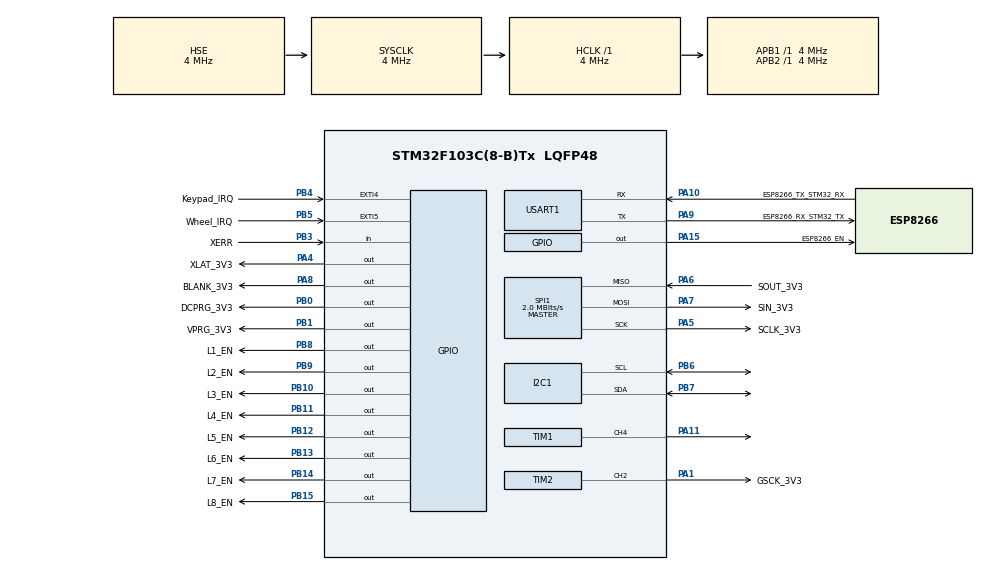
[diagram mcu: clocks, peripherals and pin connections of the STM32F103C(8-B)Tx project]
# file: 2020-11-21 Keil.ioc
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Mcu.Family=STM32F1
PA6.Mode=Full_Duplex_Master
SH.S_TIM1_CH4.0=TIM1_CH4,PWM Generation4 CH4
SPI1.VirtualType=VM_MASTER
PB4.GPIO_ModeDefaultEXTI=GPIO_MODE_IT_FALLING
PB14.GPIO_Label=L7_EN
VP_RTC_VS_RTC_Activate.Mode=RTC_Enabled
PA6.GPIO_Label=SOUT_3V3
PB0.GPIO_Label=DCPRG_3V3
TIM2.Pulse-Output\ Compare2\ CH2=1
NVIC.TIM1_UP_IRQn=true\:0\:0\:true\:false\:true\:true\:true
PB13.GPIO_Label=L6_EN
PB11.Signal=GPIO_Output
PB13.Signal=GPIO_Output
PB15.Signal=GPIO_Output
RCC.SYSCLKSource=RCC_SYSCLKSOURCE_HSE
ProjectManager.StackSize=0x400
PD1-OSC_OUT.Signal=RCC_OSC_OUT
PA15.GPIO_Label=ESP8266_EN
TIM1.Channel-PWM\ Generation4\ CH4=TIM_CHANNEL_4
SPI1.Direction=SPI_DIRECTION_2LINES
RCC.HCLKFreq_Value=4000000
RCC.APB2TimFreq_Value=4000000
PB6.Signal=I2C1_SCL
PB6.Mode=I2C
SPI1.CalculateBaudRate=2.0 MBits/s
RCC.AHBFreq_Value=4000000
RCC.HSE_VALUE=4000000
RCC.RTCClockSelection=RCC_RTCCLKSOURCE_LSE
PB12.GPIO_Label=L5_EN
PB3.GPIO_PuPd=GPIO_PULLUP
PC14-OSC32_IN.Mode=LSE-External-Oscillator
PA14.Mode=Serial_Wire
PB1.GPIO_Label=VPRG_3V3
PA10.GPIO_Label=ESP8266_TX_STM32_RX
PB7.Signal=I2C1_SDA
PA8.Signal=GPIO_Output
Mcu.Package=LQFP48
PB9.Signal=GPIO_Output
TIM2.Channel-Output\ Compare2\ CH2=TIM_CHANNEL_2
TIM2.OCMode_2=TIM_OCMODE_TOGGLE
PB1.Signal=GPIO_Output
PA6.Signal=SPI1_MISO
PA10.Signal=USART1_RX
PA15.Signal=GPIO_Output
PB5.GPIO_Label=Wheel_IRQ
RCC.APB1TimFreq_Value=4000000
TIM1.Period=16383
SPI1.BaudRatePrescaler=SPI_BAUDRATEPRESCALER_2
PA4.GPIO_Label=XLAT_3V3
PB4.Signal=GPXTI4
PA5.Mode=Full_Duplex_Master
PB3.GPIO_Label=XERR
PB5.GPIO_ModeDefaultEXTI=GPIO_MODE_IT_FALLING
RCC.PLLSourceVirtual=RCC_PLLSOURCE_HSE
PC15-OSC32_OUT.Mode=LSE-External-Oscillator
NVIC.EXTI4_IRQn=true\:2\:0\:true\:false\:true\:true\:true
PA7.Mode=Full_Duplex_Master
PD1-OSC_OUT.Mode=HSE-External-Oscillator
PB9.GPIO_Label=L2_EN
PA10.Mode=Asynchronous
PA9.GPIO_Label=ESP8266_RX_STM32_TX
PB11.GPIO_Label=L4_EN
PD0-OSC_IN.Signal=RCC_OSC_IN
PC14-OSC32_IN.Signal=RCC_OSC32_IN
PA13.Signal=SYS_JTMS-SWDIO
PB8.GPIO_Label=L1_EN
SH.S_TIM2_CH2.0=TIM2_CH2,Output Compare2 CH2
PA9.Mode=Asynchronous
PA8.GPIO_Label=BLANK_3V3
ProjectManager.TargetToolchain=MDK-ARM V5.27
PB10.GPIO_Label=L3_EN
PA9.Signal=USART1_TX
RCC.USBFreq_Value=8000000
PC15-OSC32_OUT.Signal=RCC_OSC32_OUT
PA1.Signal=S_TIM2_CH2
PD0-OSC_IN.Mode=HSE-External-Oscillator
PB10.Signal=GPIO_Output
PB14.Signal=GPIO_Output
PA5.Signal=SPI1_SCK
board=custom
TIM1.TIM_MasterOutputTrigger=TIM_TRGO_UPDATE
RCC.APB2Freq_Value=4000000
PB4.GPIO_Label=Keypad_IRQ
PB15.GPIO_Label=L8_EN
SPI1.Mode=SPI_MODE_MASTER
PA1.GPIO_Label=GSCK_3V3
TIM2.Period=1
PA13.Mode=Serial_Wire
Mcu.Name=STM32F103C(8-B)Tx
PB3.Signal=GPIO_Input
PA4.Signal=GPIO_Output
RCC.SYSCLKFreq_VALUE=4000000
PB5.Signal=GPXTI5
PA7.GPIO_Label=SIN_3V3
PA5.GPIO_Label=SCLK_3V3
USART1.VirtualMode=VM_ASYNC
PB7.Mode=I2C
PA11.Signal=S_TIM1_CH4
NVIC.EXTI9_5_IRQn=true\:2\:0\:true\:false\:true\:true\:true
PA14.Signal=SYS_JTCK-SWCLK
ProjectManager.HeapSize=0x200
NVIC.PriorityGroup=NVIC_PRIORITYGROUP_4
PB8.Signal=GPIO_Output
RCC.APB1Freq_Value=4000000
PB0.Signal=GPIO_Output
PB12.Signal=GPIO_Output
PA7.Signal=SPI1_MOSI

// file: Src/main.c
/* USER CODE BEGIN Header */
/**
  ******************************************************************************
  * @file           : main.c
  * @brief          : Main program body
  ******************************************************************************
  * @attention
  *
  * <h2><center>&copy; Copyright (c) 2020 STMicroelectronics.
  * All rights reserved.</center></h2>
  *
  * This software component is licensed by ST under BSD 3-Clause license,
  * the "License"; You may not use this file except in compliance with the
  * License. You may obtain a copy of the License at:
  *                        opensource.org/licenses/BSD-3-Clause
  *
  ******************************************************************************
  */
/* USER CODE END Header */

#include "main.h"

/* USER CODE BEGIN Includes */
#define NUM_TLCS    12
//#include "arrayFunctions.h"
//#include "usbd_cdc_if.h"
#include <string.h>
#include <stdbool.h>
#include "lcd20x4_i2c.h"
#include "mpr121.h"
#include "tlc5940.h"
//#include "Array8x8Functions.h"
//#include "LyrFrameFunctions.h"
/* USER CODE END Includes */

I2C_HandleTypeDef hi2c1;

RTC_HandleTypeDef hrtc;

SPI_HandleTypeDef hspi1;

TIM_HandleTypeDef htim1;
TIM_HandleTypeDef htim2;

UART_HandleTypeDef huart1;

void SystemClock_Config(void);
static void MX_GPIO_Init(void);
static void MX_I2C1_Init(void);
static void MX_RTC_Init(void);
static void MX_SPI1_Init(void);
static void MX_TIM1_Init(void);
static void MX_TIM2_Init(void);
static void MX_USART1_UART_Init(void);

/* USER CODE BEGIN 0 */

bool MAIN_MENU_ENABLED = 1;
bool PIN_MAPPING_ENABLED = 0;
bool APPLICATION_ENABLED = 0;
bool KEYPAD_IRQ = 0; //when this is set, indicates that the keypad must be read
bool DONT_BLANK = 0;
bool UPDATE_FRAME = 0;

/*
// defining a structure and creating an alias for it at the same time
// typedef struct __LyrFrame_TypeDef LyrFrame_TypeDef;
// struct __LyrFrame_TypeDef{...};
typedef struct __LyrFrame_TypeDef{

	uint16_t redArray[64];
	uint16_t *redArrPtr;
	uint16_t grnArray[64];
	uint16_t *grnArrPtr;
	uint16_t bluArray[64];
	uint16_t *bluArrPtr;

} LyrFrame_TypeDef;

typedef struct __Frame_TypeDef{

	LyrFrame_TypeDef lyr0;
	LyrFrame_TypeDef lyr1;
	LyrFrame_TypeDef lyr2;
	LyrFrame_TypeDef lyr3;
	LyrFrame_TypeDef lyr4;
	LyrFrame_TypeDef lyr5;
	LyrFrame_TypeDef lyr6;
	LyrFrame_TypeDef lyr7;

} Frame_TypeDef;
*/

Frame_TypeDef frame1;

//lyr global variable indicates active cube layer.
//Needs to be global so timer IRQ can access value
uint8_t activeLyr = 0;

//Data Arrays & Pointers shese should probably not be global
// Data Arrays
uint16_t data16[16*NUM_TLCS];
uint8_t data8[24*NUM_TLCS];

// Data Pointers
uint16_t *data16Ptr = &data16[0];
uint8_t *data8Ptr = &data8[0];

// Needs to be global for convenient timer IRQ access
uint8_t initNumPM = 0;
uint16_t initValPM = 0;
uint16_t stepSizePM = 500;
uint16_t minValPM = 0;
uint16_t maxValPM = 4000;

uint16_t ledNumPM;
int16_t redValPM;
int16_t bluValPM;
int16_t grnValPM;

//Color Definition Begin
uint64_t red = 				0x0fff00000000;
uint64_t green = 			0x00000fff0000;
uint64_t blue = 			0x000000000fff;
uint64_t yellow = 		0x0fff0fff0000;
uint64_t purple = 		0x0fff00000fff;
uint64_t cyan = 			0x000000ff00ff;
uint64_t orange = 		0x0fff08000000;
uint64_t pink = 			0x0fff0c0f0cbf;
uint64_t seafoam = 		0x071f0eef0b8f;
//Color Definition End

// This is how I'm manually specifying layer patterns for now!
bool mask0[64] = {1,1,1,1,1,1,1,1,
									1,0,0,0,0,0,0,1,
									1,0,0,0,0,0,0,1,
									1,0,0,0,0,0,0,1,
									1,0,0,0,0,0,0,1,
									1,0,0,0,0,0,0,1,
									1,0,0,0,0,0,0,1,
									1,1,1,1,1,1,1,1};

bool mask1[64] = {0,0,0,0,0,0,0,0,
									0,1,1,1,1,1,1,0,
									0,1,0,0,0,0,1,0,
									0,1,0,0,0,0,1,0,
									0,1,0,0,0,0,1,0,
									0,1,0,0,0,0,1,0,
									0,1,1,1,1,1,1,0,
									0,0,0,0,0,0,0,0};

bool mask2[64] = {0,0,0,0,0,0,0,0,
									0,0,0,0,0,0,0,0,
									0,0,1,1,1,1,0,0,
									0,0,1,0,0,1,0,0,
									0,0,1,0,0,1,0,0,
									0,0,1,1,1,1,0,0,
									0,0,0,0,0,0,0,0,
									0,0,0,0,0,0,0,0};

bool mask3[64] = {0,0,0,0,0,0,0,0,
									0,0,0,0,0,0,0,0,
									0,0,0,0,0,0,0,0,
									0,0,0,1,1,0,0,0,
									0,0,0,1,1,0,0,0,
									0,0,0,0,0,0,0,0,
									0,0,0,0,0,0,0,0,
									0,0,0,0,0,0,0,0};

bool mask4[64] = {1,1,1,1,1,1,1,1,
									1,0,0,0,0,0,0,1,
									1,0,1,1,1,1,0,1,
									1,0,1,0,0,1,0,1,
									1,0,1,0,0,1,0,1,
									1,0,1,1,1,1,0,1,
									1,0,0,0,0,0,0,1,
									1,1,1,1,1,1,1,1};

bool mask5[64] = {1,1,1,1,1,1,1,1,
									1,1,0,0,0,0,1,1,
									1,0,1,0,0,1,0,1,
									1,0,0,1,1,0,0,1,
									1,0,0,1,1,0,0,1,
									1,0,1,0,0,1,0,1,
									1,1,0,0,0,0,1,1,
									1,1,1,1,1,1,1,1};

bool mask6[64] = {0,0,0,0,0,0,0,0,
									1,1,1,1,1,1,1,1,
									0,0,0,0,0,0,0,0,
									1,1,1,1,1,1,1,1,
									0,0,0,0,0,0,0,1,
									1,1,1,1,1,1,1,1,
									0,0,0,0,0,0,0,0,
									1,1,1,1,1,1,1,1};

bool mask7[64] = {1,1,1,1,1,1,1,1,
									0,0,0,0,0,0,0,0,
									1,1,1,1,1,1,1,1,
									0,0,0,0,0,0,0,0,
									1,1,1,1,1,1,1,1,
									0,0,0,0,0,0,0,0,
									1,1,1,1,1,1,1,1,
									0,0,0,0,0,0,0,0};

bool maskAll[64] = {1,1,1,1,1,1,1,1,
									  1,1,1,1,1,1,1,1,
									  1,1,1,1,1,1,1,1,
									  1,1,1,1,1,1,1,1,
									  1,1,1,1,1,1,1,1,
									  1,1,1,1,1,1,1,1,
									  1,1,1,1,1,1,1,1,
									  1,1,1,1,1,1,1,1};

bool *mask0Ptr = &mask0[0];
bool *mask1Ptr = &mask1[0];
bool *mask2Ptr = &mask2[0];
bool *mask3Ptr = &mask3[0];
bool *mask4Ptr = &mask4[0];
bool *mask5Ptr = &mask5[0];
bool *mask6Ptr = &mask6[0];
bool *mask7Ptr = &mask7[0];

// pin mapping - this should never need to be reconfigured now that all the cabling as been eliminated :^)
int redMap[64] = {178,181,160,163,166,145,148,151,189,186,175,172,169,158,155,152,130,133,112,115,118,97,100,103,141,138,127,124,121,110,107,104,82,85,64,67,70,49,52,55,93,90,79,76,73,62,59,56,34,37,16,19,22,1,4,7,45,42,31,28,25,14,11,8};
int grnMap[64] = {177,180,183,162,165,144,147,150,190,187,184,173,170,159,156,153,129,132,135,114,117,96,99,102,142,139,136,125,122,111,108,105,81,84,87,66,69,48,51,54,94,91,88,77,74,63,60,57,33,36,39,18,21,0,3,6,46,43,40,29,26,15,12,9};
int bluMap[64] = {176,179,182,161,164,167,146,149,191,188,185,174,171,168,157,154,128,131,134,113,116,119,98,101,143,140,137,126,123,120,109,106,80,83,86,65,68,71,50,53,95,92,89,78,75,72,61,58,32,35,38,17,20,23,2,5,47,44,41,30,27,24,13,10};

/* USER CODE END 0 */

int main(void)
{

  /* MCU Configuration--------------------------------------------------------*/

  /* Reset of all peripherals, Initializes the Flash interface and the Systick. */
  HAL_Init();

  /* Configure the system clock */
  SystemClock_Config();

  /* Initialize all configured peripherals */
  MX_GPIO_Init();
  MX_I2C1_Init();
  MX_RTC_Init();
  MX_SPI1_Init();
  MX_TIM1_Init();
  MX_TIM2_Init();
  MX_USART1_UART_Init();
  /* USER CODE BEGIN 2 */

	//have to manually set the pointers
	frame1.lyr0.redArrPtr = &frame1.lyr0.redArray[0];
	frame1.lyr0.grnArrPtr = &frame1.lyr0.grnArray[0];
	frame1.lyr0.bluArrPtr = &frame1.lyr0.bluArray[0];

	lyr_frame_set_single_rgb(frame1.lyr0.redArrPtr,0x0FFF,mask2);

	// This pin referencing is slightly redundant. L8 needs to be set since it's toggled during timXocstart (158)
	HAL_GPIO_WritePin(L8_EN_GPIO_Port, L8_EN_Pin, GPIO_PIN_RESET);
	HAL_GPIO_WritePin(L7_EN_GPIO_Port, L7_EN_Pin, GPIO_PIN_RESET);
	HAL_GPIO_WritePin(L6_EN_GPIO_Port, L6_EN_Pin, GPIO_PIN_RESET);
	HAL_GPIO_WritePin(L5_EN_GPIO_Port, L5_EN_Pin, GPIO_PIN_RESET);
	HAL_GPIO_WritePin(L4_EN_GPIO_Port, L4_EN_Pin, GPIO_PIN_RESET);
	HAL_GPIO_WritePin(L3_EN_GPIO_Port, L3_EN_Pin, GPIO_PIN_RESET);
	HAL_GPIO_WritePin(L2_EN_GPIO_Port, L2_EN_Pin, GPIO_PIN_RESET);
	HAL_GPIO_WritePin(L1_EN_GPIO_Port, L1_EN_Pin, GPIO_PIN_RESET);

	HAL_TIM_OC_Start(&htim2, TIM_CHANNEL_2);	//
	HAL_TIM_Base_Start_IT(&htim1);
	HAL_TIM_OC_Start(&htim1, TIM_CHANNEL_1);	//

	// LCD & MPR121 INIT BEGIN
	lcd20x4_i2c_init(&hi2c1);
	HAL_Delay(100);
	mpr121_init(&hi2c1, (KEYPAD_ADDRESS<<1), &hi2c1);
	HAL_Delay(100);
	mpr121_init(&hi2c1, (WHEEL_ADDRESS<<1), &hi2c1);
	HAL_Delay(100);
	lcd20x4_i2c_clear();
	HAL_Delay(100);

	if(HAL_I2C_IsDeviceReady(&hi2c1, (KEYPAD_ADDRESS<<1), 2, 10) == HAL_OK)
		{
			lcd20x4_i2c_1stLine();
			HAL_Delay(50);
			lcd20x4_i2c_printf("Keypad Ready!");
		}
	else lcd20x4_i2c_printf("Keypad Init Failed");
	lcd20x4_i2c_2ndLine();

	if(HAL_I2C_IsDeviceReady(&hi2c1, (WHEEL_ADDRESS<<1), 2, 10) == HAL_OK)
		{
			HAL_Delay(50);
			lcd20x4_i2c_printf("Wheel Ready!");
		}
	else lcd20x4_i2c_printf("Wheel Init Failed");
	lcd20x4_i2c_1stLine();

	HAL_Delay(1000);
	lcd20x4_i2c_clear();

	HAL_GPIO_WritePin(L8_EN_GPIO_Port, L8_EN_Pin, GPIO_PIN_SET);

	//LCD & MPR121 INIT END

	HAL_SPI_Init(&hspi1);

  /* USER CODE END 2 */

  /* Infinite loop */
  /* USER CODE BEGIN WHILE */
  while (1)
  {

		if(MAIN_MENU_ENABLED == 1)
		{

			tlc_clear(data16Ptr);
			tlc_update(hspi1,data16Ptr,data8Ptr);
			lcd20x4_i2c_clear();
			lcd20x4_i2c_1stLine();
			lcd20x4_i2c_printf("Main Menu");
			lcd20x4_i2c_2ndLine();
			lcd20x4_i2c_printf("1 - Application");
			lcd20x4_i2c_3rdLine();
			lcd20x4_i2c_printf("2 - Pin Mapping");

			while(MAIN_MENU_ENABLED == 1)
			{
				HAL_Delay(50);
			}
		}

		if(APPLICATION_ENABLED == 1)
		{
			lcd20x4_i2c_clear();
			lcd20x4_i2c_1stLine();
			lcd20x4_i2c_printf("Press 3 to go back");

			//uint16_t redVal = 0x0001;
			//uint16_t grnVal = 0x0010;
			//uint16_t bluVal = 0x0100;
			uint16_t frameDurationms = 25;
			uint64_t frameColor = 		0x0fff0fff0000;

			while(APPLICATION_ENABLED == 1)
			{

				tlc_set_lyr(data16Ptr,frameColor,mask0);
				UPDATE_FRAME=1;
				HAL_Delay(frameDurationms);

				tlc_clear(data16Ptr);
				UPDATE_FRAME=1;
				HAL_Delay(frameDurationms);

				tlc_set_lyr(data16Ptr,frameColor,mask1);
				UPDATE_FRAME=1;
				HAL_Delay(frameDurationms);

				tlc_clear(data16Ptr);
				UPDATE_FRAME=1;
				HAL_Delay(frameDurationms);

				tlc_set_lyr(data16Ptr,frameColor,mask2);
				UPDATE_FRAME=1;
				HAL_Delay(frameDurationms);

				tlc_clear(data16Ptr);
				UPDATE_FRAME=1;
				HAL_Delay(frameDurationms);

				tlc_set_lyr(data16Ptr,frameColor,mask3);
				UPDATE_FRAME=1;
				HAL_Delay(frameDurationms);

				tlc_clear(data16Ptr);
				UPDATE_FRAME=1;
				HAL_Delay(frameDurationms);

				tlc_set_lyr(data16Ptr,frameColor,mask2);
				UPDATE_FRAME=1;
				HAL_Delay(frameDurationms);

				tlc_clear(data16Ptr);
				UPDATE_FRAME=1;
				HAL_Delay(frameDurationms);

				tlc_set_lyr(data16Ptr,frameColor,mask1);
				UPDATE_FRAME=1;
				HAL_Delay(frameDurationms);

				tlc_clear(data16Ptr);
				UPDATE_FRAME=1;
				HAL_Delay(frameDurationms);

				tlc_set_lyr(data16Ptr,frameColor,mask0);
				UPDATE_FRAME=1;
				HAL_Delay(frameDurationms);

				tlc_clear(data16Ptr);
				UPDATE_FRAME=1;
				HAL_Delay(frameDurationms);

				frameColor=frameColor<<1;

				if (frameColor>0x0001000000000000)
				{
					frameColor=1;
				}

				/*
				if (redVal == 0x0000) redVal = 0x0001;
				if (grnVal == 0x0000) grnVal = 0x0001;
				if (bluVal == 0x0000) bluVal = 0x0001;

				for(int ledValTst = 0;ledValTst<64;ledValTst++)
				{
					tlc_set_led(data16Ptr,redMap[ledValTst],redVal);
					tlc_set_led(data16Ptr,grnMap[ledValTst],grnVal);
					tlc_set_led(data16Ptr,bluMap[ledValTst],bluVal);
					tlc_update(hspi1, data16Ptr,data8Ptr);
 					HAL_Delay(10);
				}

				for(int ledValTst = 64;ledValTst>=1;ledValTst--)
				{
					tlc_set_led(data16Ptr,redMap[ledValTst-1],0x0000);
					tlc_set_led(data16Ptr,grnMap[ledValTst-1],0x0000);
					tlc_set_led(data16Ptr,bluMap[ledValTst-1],0x0000);
					tlc_update(hspi1, data16Ptr,data8Ptr);
 					HAL_Delay(10);
				}

				redVal = (redVal <<1);
				grnVal = (grnVal <<2);
				bluVal = (bluVal <<3);
				*/

			}
		}

		if(PIN_MAPPING_ENABLED == 1)
		{
			lcd20x4_i2c_clear();
			lcd20x4_i2c_1stLine();
			lcd20x4_i2c_printf("LED # 123");
			lcd20x4_i2c_2ndLine();
			lcd20x4_i2c_printf("RED: 255");
			lcd20x4_i2c_3rdLine();
			lcd20x4_i2c_printf("GRN: 255");
			lcd20x4_i2c_4thLine();
			lcd20x4_i2c_printf("BLU: 255");

			ledNumPM = initNumPM;
			redValPM = initValPM;
			bluValPM = initValPM;
			grnValPM = initValPM;

			while(PIN_MAPPING_ENABLED == 1)
			{
				tlc_clear(data16Ptr);
				tlc_set_led(data16Ptr,redMap[ledNumPM],redValPM);
				tlc_set_led(data16Ptr,grnMap[ledNumPM],grnValPM);
				tlc_set_led(data16Ptr,bluMap[ledNumPM],bluValPM);
				tlc_update(hspi1, data16Ptr,data8Ptr);

				lcd20x4_i2c_clear();
				lcd20x4_i2c_1stLine();
				lcd20x4_i2c_printf("LED # %d", ledNumPM);
				lcd20x4_i2c_2ndLine();
				lcd20x4_i2c_printf("RED: %d", redValPM);
				lcd20x4_i2c_3rdLine();
				lcd20x4_i2c_printf("GRN: %d", grnValPM);
				lcd20x4_i2c_4thLine();
				lcd20x4_i2c_printf("BLU: %d", bluValPM);

			}
		}
	}
}

    /* USER CODE END WHILE */

void SystemClock_Config(void)
{
  RCC_OscInitTypeDef RCC_OscInitStruct = {0};
  RCC_ClkInitTypeDef RCC_ClkInitStruct = {0};
  RCC_PeriphCLKInitTypeDef PeriphClkInit = {0};

  /** Initializes the CPU, AHB and APB busses clocks
  */
  RCC_OscInitStruct.OscillatorType = RCC_OSCILLATORTYPE_HSE|RCC_OSCILLATORTYPE_LSE;
  RCC_OscInitStruct.HSEState = RCC_HSE_ON;
  RCC_OscInitStruct.LSEState = RCC_LSE_ON;
  RCC_OscInitStruct.PLL.PLLState = RCC_PLL_NONE;
  if (HAL_RCC_OscConfig(&RCC_OscInitStruct) != HAL_OK)
  {
    Error_Handler();
  }
  /** Initializes the CPU, AHB and APB busses clocks
  */
  RCC_ClkInitStruct.ClockType = RCC_CLOCKTYPE_HCLK|RCC_CLOCKTYPE_SYSCLK
                              |RCC_CLOCKTYPE_PCLK1|RCC_CLOCKTYPE_PCLK2;
  RCC_ClkInitStruct.SYSCLKSource = RCC_SYSCLKSOURCE_HSE;
  RCC_ClkInitStruct.AHBCLKDivider = RCC_SYSCLK_DIV1;
  RCC_ClkInitStruct.APB1CLKDivider = RCC_HCLK_DIV1;
  RCC_ClkInitStruct.APB2CLKDivider = RCC_HCLK_DIV1;

  if (HAL_RCC_ClockConfig(&RCC_ClkInitStruct, FLASH_LATENCY_0) != HAL_OK)
  {
    Error_Handler();
  }
  PeriphClkInit.PeriphClockSelection = RCC_PERIPHCLK_RTC;
  PeriphClkInit.RTCClockSelection = RCC_RTCCLKSOURCE_LSE;
  if (HAL_RCCEx_PeriphCLKConfig(&PeriphClkInit) != HAL_OK)
  {
    Error_Handler();
  }
}

static void MX_I2C1_Init(void)
{

  hi2c1.Instance = I2C1;
  hi2c1.Init.ClockSpeed = 100000;
  hi2c1.Init.DutyCycle = I2C_DUTYCYCLE_2;
  hi2c1.Init.OwnAddress1 = 0;
  hi2c1.Init.AddressingMode = I2C_ADDRESSINGMODE_7BIT;
  hi2c1.Init.DualAddressMode = I2C_DUALADDRESS_DISABLE;
  hi2c1.Init.OwnAddress2 = 0;
  hi2c1.Init.GeneralCallMode = I2C_GENERALCALL_DISABLE;
  hi2c1.Init.NoStretchMode = I2C_NOSTRETCH_DISABLE;
  if (HAL_I2C_Init(&hi2c1) != HAL_OK)
  {
    Error_Handler();
  }

}

static void MX_RTC_Init(void)
{

  /** Initialize RTC Only
  */
  hrtc.Instance = RTC;
  hrtc.Init.AsynchPrediv = RTC_AUTO_1_SECOND;
  hrtc.Init.OutPut = RTC_OUTPUTSOURCE_ALARM;
  if (HAL_RTC_Init(&hrtc) != HAL_OK)
  {
    Error_Handler();
  }

}

static void MX_SPI1_Init(void)
{

  /* SPI1 parameter configuration*/
  hspi1.Instance = SPI1;
  hspi1.Init.Mode = SPI_MODE_MASTER;
  hspi1.Init.Direction = SPI_DIRECTION_2LINES;
  hspi1.Init.DataSize = SPI_DATASIZE_8BIT;
  hspi1.Init.CLKPolarity = SPI_POLARITY_LOW;
  hspi1.Init.CLKPhase = SPI_PHASE_1EDGE;
  hspi1.Init.NSS = SPI_NSS_SOFT;
  hspi1.Init.BaudRatePrescaler = SPI_BAUDRATEPRESCALER_2;
  hspi1.Init.FirstBit = SPI_FIRSTBIT_MSB;
  hspi1.Init.TIMode = SPI_TIMODE_DISABLE;
  hspi1.Init.CRCCalculation = SPI_CRCCALCULATION_DISABLE;
  hspi1.Init.CRCPolynomial = 10;
  if (HAL_SPI_Init(&hspi1) != HAL_OK)
  {
    Error_Handler();
  }

}

static void MX_TIM1_Init(void)
{

  TIM_MasterConfigTypeDef sMasterConfig = {0};
  TIM_OC_InitTypeDef sConfigOC = {0};
  TIM_BreakDeadTimeConfigTypeDef sBreakDeadTimeConfig = {0};

  htim1.Instance = TIM1;
  htim1.Init.Prescaler = 0;
  htim1.Init.CounterMode = TIM_COUNTERMODE_UP;
  htim1.Init.Period = 16383;
  htim1.Init.ClockDivision = TIM_CLOCKDIVISION_DIV1;
  htim1.Init.RepetitionCounter = 0;
  htim1.Init.AutoReloadPreload = TIM_AUTORELOAD_PRELOAD_DISABLE;
  if (HAL_TIM_PWM_Init(&htim1) != HAL_OK)
  {
    Error_Handler();
  }
  sMasterConfig.MasterOutputTrigger = TIM_TRGO_UPDATE;
  sMasterConfig.MasterSlaveMode = TIM_MASTERSLAVEMODE_DISABLE;
  if (HAL_TIMEx_MasterConfigSynchronization(&htim1, &sMasterConfig) != HAL_OK)
  {
    Error_Handler();
  }
  sConfigOC.OCMode = TIM_OCMODE_PWM1;
  sConfigOC.Pulse = 0;
  sConfigOC.OCPolarity = TIM_OCPOLARITY_HIGH;
  sConfigOC.OCFastMode = TIM_OCFAST_DISABLE;
  sConfigOC.OCIdleState = TIM_OCIDLESTATE_RESET;
  sConfigOC.OCNIdleState = TIM_OCNIDLESTATE_RESET;
  if (HAL_TIM_PWM_ConfigChannel(&htim1, &sConfigOC, TIM_CHANNEL_4) != HAL_OK)
  {
    Error_Handler();
  }
  sBreakDeadTimeConfig.OffStateRunMode = TIM_OSSR_DISABLE;
  sBreakDeadTimeConfig.OffStateIDLEMode = TIM_OSSI_DISABLE;
  sBreakDeadTimeConfig.LockLevel = TIM_LOCKLEVEL_OFF;
  sBreakDeadTimeConfig.DeadTime = 0;
  sBreakDeadTimeConfig.BreakState = TIM_BREAK_DISABLE;
  sBreakDeadTimeConfig.BreakPolarity = TIM_BREAKPOLARITY_HIGH;
  sBreakDeadTimeConfig.AutomaticOutput = TIM_AUTOMATICOUTPUT_DISABLE;
  if (HAL_TIMEx_ConfigBreakDeadTime(&htim1, &sBreakDeadTimeConfig) != HAL_OK)
  {
    Error_Handler();
  }
  /* USER CODE BEGIN TIM1_Init 2 */
	sConfigOC.OCMode = TIM_OCMODE_PWM2;
  /* USER CODE END TIM1_Init 2 */
  HAL_TIM_MspPostInit(&htim1);

}

static void MX_TIM2_Init(void)
{

  TIM_MasterConfigTypeDef sMasterConfig = {0};
  TIM_OC_InitTypeDef sConfigOC = {0};

  htim2.Instance = TIM2;
  htim2.Init.Prescaler = 0;
  htim2.Init.CounterMode = TIM_COUNTERMODE_UP;
  htim2.Init.Period = 1;
  htim2.Init.ClockDivision = TIM_CLOCKDIVISION_DIV1;
  htim2.Init.AutoReloadPreload = TIM_AUTORELOAD_PRELOAD_DISABLE;
  if (HAL_TIM_OC_Init(&htim2) != HAL_OK)
  {
    Error_Handler();
  }
  sMasterConfig.MasterOutputTrigger = TIM_TRGO_RESET;
  sMasterConfig.MasterSlaveMode = TIM_MASTERSLAVEMODE_DISABLE;
  if (HAL_TIMEx_MasterConfigSynchronization(&htim2, &sMasterConfig) != HAL_OK)
  {
    Error_Handler();
  }
  sConfigOC.OCMode = TIM_OCMODE_TOGGLE;
  sConfigOC.Pulse = 1;
  sConfigOC.OCPolarity = TIM_OCPOLARITY_HIGH;
  sConfigOC.OCFastMode = TIM_OCFAST_DISABLE;
  if (HAL_TIM_OC_ConfigChannel(&htim2, &sConfigOC, TIM_CHANNEL_2) != HAL_OK)
  {
    Error_Handler();
  }
  /* USER CODE BEGIN TIM2_Init 2 */
	sConfigOC.Pulse = 1;
  /* USER CODE END TIM2_Init 2 */
  HAL_TIM_MspPostInit(&htim2);

}

static void MX_USART1_UART_Init(void)
{

  huart1.Instance = USART1;
  huart1.Init.BaudRate = 115200;
  huart1.Init.WordLength = UART_WORDLENGTH_8B;
  huart1.Init.StopBits = UART_STOPBITS_1;
  huart1.Init.Parity = UART_PARITY_NONE;
  huart1.Init.Mode = UART_MODE_TX_RX;
  huart1.Init.HwFlowCtl = UART_HWCONTROL_NONE;
  huart1.Init.OverSampling = UART_OVERSAMPLING_16;
  if (HAL_UART_Init(&huart1) != HAL_OK)
  {
    Error_Handler();
  }

}

static void MX_GPIO_Init(void)
{
  GPIO_InitTypeDef GPIO_InitStruct = {0};

  /* GPIO Ports Clock Enable */
  __HAL_RCC_GPIOC_CLK_ENABLE();
  __HAL_RCC_GPIOD_CLK_ENABLE();
  __HAL_RCC_GPIOA_CLK_ENABLE();
  __HAL_RCC_GPIOB_CLK_ENABLE();

  /*Configure GPIO pin Output Level */
  HAL_GPIO_WritePin(GPIOA, XLAT_3V3_Pin|BLANK_3V3_Pin|ESP8266_EN_Pin, GPIO_PIN_RESET);

  /*Configure GPIO pin Output Level */
  HAL_GPIO_WritePin(GPIOB, DCPRG_3V3_Pin|VPRG_3V3_Pin|L3_EN_Pin|L4_EN_Pin
                          |L5_EN_Pin|L6_EN_Pin|L7_EN_Pin|L8_EN_Pin
                          |L1_EN_Pin|L2_EN_Pin, GPIO_PIN_RESET);

  /*Configure GPIO pins : XLAT_3V3_Pin BLANK_3V3_Pin ESP8266_EN_Pin */
  GPIO_InitStruct.Pin = XLAT_3V3_Pin|BLANK_3V3_Pin|ESP8266_EN_Pin;
  GPIO_InitStruct.Mode = GPIO_MODE_OUTPUT_PP;
  GPIO_InitStruct.Pull = GPIO_NOPULL;
  GPIO_InitStruct.Speed = GPIO_SPEED_FREQ_LOW;
  HAL_GPIO_Init(GPIOA, &GPIO_InitStruct);

  /*Configure GPIO pins : DCPRG_3V3_Pin VPRG_3V3_Pin L3_EN_Pin L4_EN_Pin
                           L5_EN_Pin L6_EN_Pin L7_EN_Pin L8_EN_Pin
                           L1_EN_Pin L2_EN_Pin */
  GPIO_InitStruct.Pin = DCPRG_3V3_Pin|VPRG_3V3_Pin|L3_EN_Pin|L4_EN_Pin
                          |L5_EN_Pin|L6_EN_Pin|L7_EN_Pin|L8_EN_Pin
                          |L1_EN_Pin|L2_EN_Pin;
  GPIO_InitStruct.Mode = GPIO_MODE_OUTPUT_PP;
  GPIO_InitStruct.Pull = GPIO_NOPULL;
  GPIO_InitStruct.Speed = GPIO_SPEED_FREQ_LOW;
  HAL_GPIO_Init(GPIOB, &GPIO_InitStruct);

  /*Configure GPIO pin : XERR_Pin */
  GPIO_InitStruct.Pin = XERR_Pin;
  GPIO_InitStruct.Mode = GPIO_MODE_INPUT;
  GPIO_InitStruct.Pull = GPIO_PULLUP;
  HAL_GPIO_Init(XERR_GPIO_Port, &GPIO_InitStruct);

  /*Configure GPIO pins : Keypad_IRQ_Pin Wheel_IRQ_Pin */
  GPIO_InitStruct.Pin = Keypad_IRQ_Pin|Wheel_IRQ_Pin;
  GPIO_InitStruct.Mode = GPIO_MODE_IT_FALLING;
  GPIO_InitStruct.Pull = GPIO_NOPULL;
  HAL_GPIO_Init(GPIOB, &GPIO_InitStruct);

  /* EXTI interrupt init*/
  HAL_NVIC_SetPriority(EXTI4_IRQn, 2, 0);
  HAL_NVIC_EnableIRQ(EXTI4_IRQn);

  HAL_NVIC_SetPriority(EXTI9_5_IRQn, 2, 0);
  HAL_NVIC_EnableIRQ(EXTI9_5_IRQn);

}

/* USER CODE BEGIN 4 */
void HAL_GPIO_EXTI_Callback(uint16_t GPIO_Pin)
{
	KEYPAD_IRQ = 0;

	//ensures that MPR121s aren't read while LCD is being written to
	I2C_HandleTypeDef *phi2c1 = &hi2c1;
	if (phi2c1->State != HAL_I2C_STATE_READY)
	{
		KEYPAD_IRQ = 1;
		return;
	}

	uint8_t keypadVal;

	keypadVal = mpr121_keyPad(&hi2c1, (KEYPAD_ADDRESS<<1));
	HAL_Delay(50);
	if(GPIO_Pin == Keypad_IRQ_Pin)
	{
		if(MAIN_MENU_ENABLED == true)
		{
			if(keypadVal == 1)
			{
				APPLICATION_ENABLED = true;
				MAIN_MENU_ENABLED = false;
				return;
			}

			if(keypadVal == 2)
			{
				PIN_MAPPING_ENABLED = true;
				MAIN_MENU_ENABLED = false;
				return;
			}
			return;
		}

		if(APPLICATION_ENABLED == true)
		{
			if(keypadVal == 3)
			{
				//MAIN_MENU_ENABLED = true;
				//APPLICATION_ENABLED = false;
				return;
			}
			return;
		}

		if(PIN_MAPPING_ENABLED == true)
		{
			if(keypadVal == 1)
				redValPM=redValPM + stepSizePM;
				if (redValPM > maxValPM) redValPM = 0;
			if(keypadVal == 2)
				bluValPM=grnValPM + stepSizePM;
				if (bluValPM > maxValPM) bluValPM = 0;
			if(keypadVal == 3)
				grnValPM=bluValPM + stepSizePM;
				if (grnValPM > maxValPM) grnValPM = 0;
			if(keypadVal == 4)
			{
				if (ledNumPM==0) ledNumPM = 64;
				ledNumPM--;
			}
			if(keypadVal == 6)
			{
				ledNumPM++;
				if (ledNumPM==64) ledNumPM = 0;
			}
			if(keypadVal == 7)
				redValPM=redValPM - stepSizePM;
				if (redValPM < minValPM) redValPM = maxValPM;
			if(keypadVal == 8)
				grnValPM=grnValPM - stepSizePM;
				if (grnValPM < minValPM) grnValPM = maxValPM;
			if(keypadVal == 9)
				bluValPM=bluValPM - stepSizePM;
				if (bluValPM < minValPM) bluValPM = maxValPM;
			if(keypadVal == 10)
			{
				MAIN_MENU_ENABLED = true;
				PIN_MAPPING_ENABLED = false;
				return;
			}
			return;
		}
	}
}

void HAL_TIM_PeriodElapsedCallback(TIM_HandleTypeDef *htim){

	if(UPDATE_FRAME==0)
	{
		HAL_GPIO_WritePin(BLANK_3V3_GPIO_Port, BLANK_3V3_Pin, GPIO_PIN_SET);
		for(uint16_t dummyVar =1;dummyVar<15;dummyVar++); // short delay (approx 3us)
		HAL_GPIO_WritePin(BLANK_3V3_GPIO_Port, BLANK_3V3_Pin, GPIO_PIN_RESET);
		return;
	}

	if(UPDATE_FRAME==1)
	{
		tlc_spi_convert(data16Ptr, data8Ptr);
		HAL_SPI_Transmit(&hspi1, data8Ptr, 24*NUM_TLCS, 10);
		HAL_GPIO_WritePin(BLANK_3V3_GPIO_Port, BLANK_3V3_Pin, GPIO_PIN_SET);
		HAL_GPIO_WritePin(XLAT_3V3_GPIO_Port, XLAT_3V3_Pin, GPIO_PIN_SET);
		for(uint16_t dummyVar =1;dummyVar<15;dummyVar++); // short delay (approx 3us)
		HAL_GPIO_WritePin(XLAT_3V3_GPIO_Port, XLAT_3V3_Pin, GPIO_PIN_RESET);
		HAL_GPIO_WritePin(BLANK_3V3_GPIO_Port, BLANK_3V3_Pin, GPIO_PIN_RESET);
		UPDATE_FRAME=0;
		return;
	}

	//I think blank should be toggled in this callback for improved synchronization
	/*
	if(activeLyr==0){
		HAL_GPIO_TogglePin(L8_EN_GPIO_Port, L8_EN_Pin);
		tlc_clear(data16Ptr);
		tlc_set_lyr(data16Ptr,seafoam,mask5);
		tlc_update(data16Ptr,data8Ptr);
		HAL_GPIO_TogglePin(L1_EN_GPIO_Port, L1_EN_Pin);}

	if(activeLyr==1){
		HAL_GPIO_TogglePin(L1_EN_GPIO_Port, L1_EN_Pin);
		tlc_clear(data16Ptr);
		tlc_set_lyr(data16Ptr,red,mask5);
		tlc_update(data16Ptr,data8Ptr);
		HAL_GPIO_TogglePin(L2_EN_GPIO_Port, L2_EN_Pin);}

	if(activeLyr==2){
		HAL_GPIO_TogglePin(L2_EN_GPIO_Port, L2_EN_Pin);
		tlc_clear(data16Ptr);
		tlc_set_lyr(data16Ptr,cyan,mask5);
		tlc_update(data16Ptr,data8Ptr);
		HAL_GPIO_TogglePin(L3_EN_GPIO_Port, L3_EN_Pin);}

	if(activeLyr==3){
		HAL_GPIO_TogglePin(L3_EN_GPIO_Port, L3_EN_Pin);
		tlc_clear(data16Ptr);
		tlc_set_lyr(data16Ptr,purple,mask5);
		tlc_update(data16Ptr,data8Ptr);
		HAL_GPIO_TogglePin(L4_EN_GPIO_Port, L4_EN_Pin);}

	if(activeLyr==4){
		HAL_GPIO_TogglePin(L4_EN_GPIO_Port, L4_EN_Pin);
		tlc_clear(data16Ptr);
		tlc_set_lyr(data16Ptr,pink,mask5);
		tlc_update(data16Ptr,data8Ptr);
		HAL_GPIO_TogglePin(L5_EN_GPIO_Port, L5_EN_Pin);}

	if(activeLyr==5){
		HAL_GPIO_TogglePin(L5_EN_GPIO_Port, L5_EN_Pin);
		tlc_clear(data16Ptr);
		tlc_set_lyr(data16Ptr,frameColor,mask5);
		tlc_update(data16Ptr,data8Ptr);
		HAL_GPIO_TogglePin(L6_EN_GPIO_Port, L6_EN_Pin);}

	if(activeLyr==6){
		HAL_GPIO_TogglePin(L6_EN_GPIO_Port, L6_EN_Pin);
		tlc_clear(data16Ptr);
		tlc_set_lyr(data16Ptr,blue,mask5);
		tlc_update(data16Ptr,data8Ptr);
		HAL_GPIO_TogglePin(L7_EN_GPIO_Port, L7_EN_Pin);}

	if(activeLyr==7){
		HAL_GPIO_TogglePin(L7_EN_GPIO_Port, L7_EN_Pin);
		tlc_clear(data16Ptr);
		tlc_set_lyr(data16Ptr,green,mask5);
		tlc_update(data16Ptr,data8Ptr);
		HAL_GPIO_TogglePin(L8_EN_GPIO_Port, L8_EN_Pin);}

	activeLyr++;
	if(activeLyr==8) activeLyr = 0;
	*/
}

//void CDC_ReceiveCallBack(uint8_t *buf, uint32_t len){
//	CDC_Transmit_FS(buf, len);
//}

/* USER CODE END 4 */

void Error_Handler(void)
{
}

/************************ (C) COPYRIGHT STMicroelectronics *****END OF FILE****/
